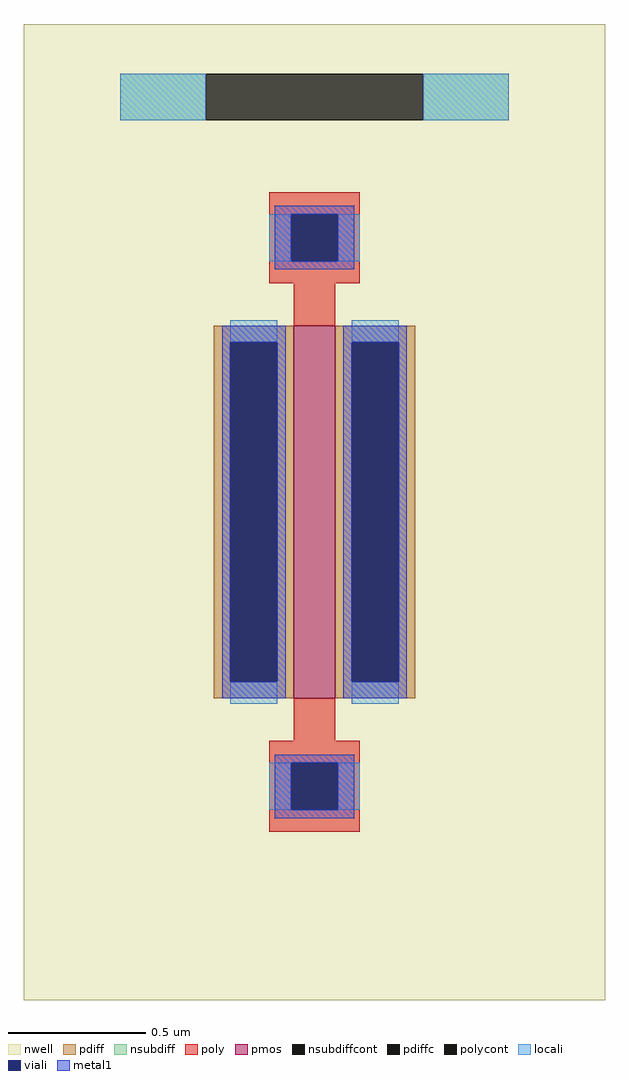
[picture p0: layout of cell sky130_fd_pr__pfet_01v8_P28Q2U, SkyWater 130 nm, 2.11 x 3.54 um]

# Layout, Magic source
magic
tech sky130A
magscale 1 2
<< nwell >>
rect -211 -354 211 354
<< pmos >>
rect -15 -135 15 135
<< pdiff >>
rect -73 123 -15 135
rect -73 -123 -61 123
rect -27 -123 -15 123
rect -73 -135 -15 -123
rect 15 123 73 135
rect 15 -123 27 123
rect 61 -123 73 123
rect 15 -135 73 -123
<< pdiffc >>
rect -61 -123 -27 123
rect 27 -123 61 123
<< nsubdiff >>
rect -141 284 -79 318
rect 79 284 141 318
<< nsubdiffcont >>
rect -79 284 79 318
<< poly >>
rect -33 216 33 232
rect -33 182 -17 216
rect 17 182 33 216
rect -33 166 33 182
rect -15 135 15 166
rect -15 -166 15 -135
rect -33 -182 33 -166
rect -33 -216 -17 -182
rect 17 -216 33 -182
rect -33 -232 33 -216
<< polycont >>
rect -17 182 17 216
rect -17 -216 17 -182
<< locali >>
rect -141 284 -79 318
rect 79 284 141 318
rect -33 182 -17 216
rect 17 182 33 216
rect -61 123 -27 139
rect -61 -139 -27 -123
rect 27 123 61 139
rect 27 -139 61 -123
rect -33 -216 -17 -182
rect 17 -216 33 -182
<< viali >>
rect -17 182 17 216
rect -61 -123 -27 123
rect 27 -123 61 123
rect -17 -216 17 -182
<< metal1 >>
rect -29 216 29 222
rect -29 182 -17 216
rect 17 182 29 216
rect -29 176 29 182
rect -67 123 -21 135
rect -67 -123 -61 123
rect -27 -123 -21 123
rect -67 -135 -21 -123
rect 21 123 67 135
rect 21 -123 27 123
rect 61 -123 67 123
rect 21 -135 67 -123
rect -29 -182 29 -176
rect -29 -216 -17 -182
rect 17 -216 29 -182
rect -29 -222 29 -216
<< properties >>
string FIXED_BBOX -158 -301 158 301
string gencell sky130_fd_pr__pfet_01v8
string library sky130
string parameters w 1.349 l 0.151 m 1 nf 1 diffcov 100 polycov 100 guard 1 glc 1 grc 1 gtc 1 gbc 1 tbcov 100 rlcov 100 topc 1 botc 1 poverlap 0 doverlap 1 lmin 0.15 wmin 0.42 compatible {sky130_fd_pr__pfet_01v8  sky130_fd_pr__pfet_01v8_lvt sky130_fd_pr__pfet_01v8_hvt  sky130_fd_pr__pfet_g5v0d10v5} full_metal 1 viasrc 100 viadrn 100 viagate 100 viagb 0 viagr 0 viagl 0 viagt 0
<< end >>
